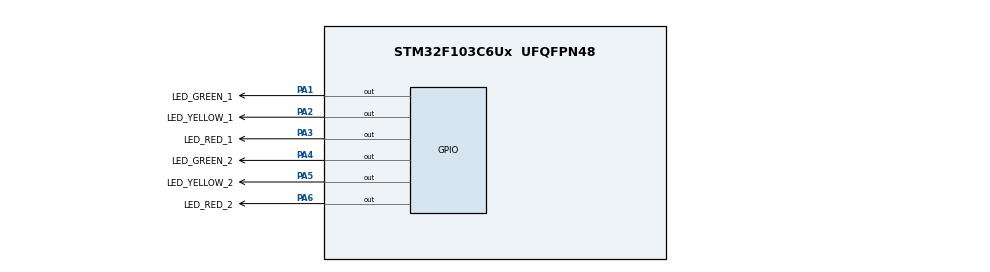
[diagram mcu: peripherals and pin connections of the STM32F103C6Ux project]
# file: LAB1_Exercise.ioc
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Mcu.Family=STM32F1
Mcu.Name=STM32F103C6Ux
Mcu.Package=UFQFPN48
NVIC.PriorityGroup=NVIC_PRIORITYGROUP_4
PA1.GPIO_Label=LED_GREEN_1
PA1.Signal=GPIO_Output
PA2.GPIO_Label=LED_YELLOW_1
PA2.Signal=GPIO_Output
PA3.GPIO_Label=LED_RED_1
PA3.Signal=GPIO_Output
PA4.GPIO_Label=LED_GREEN_2
PA4.Signal=GPIO_Output
PA5.GPIO_Label=LED_YELLOW_2
PA5.Signal=GPIO_Output
PA6.GPIO_Label=LED_RED_2
PA6.Signal=GPIO_Output
ProjectManager.HeapSize=0x200
ProjectManager.StackSize=0x400
ProjectManager.TargetToolchain=STM32CubeIDE
RCC.APB1Freq_Value=8000000
RCC.APB2Freq_Value=8000000
board=custom

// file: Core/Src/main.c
/* USER CODE BEGIN Header */
/**
  ******************************************************************************
  * @file           : main.c
  * @brief          : Main program body
  ******************************************************************************
  * @attention
  *
  * Copyright (c) 2025 STMicroelectronics.
  * All rights reserved.
  *
  * This software is licensed under terms that can be found in the LICENSE file
  * in the root directory of this software component.
  * If no LICENSE file comes with this software, it is provided AS-IS.
  *
  ******************************************************************************
  */
/* USER CODE END Header */
#include "main.h"

void SystemClock_Config(void);
static void MX_GPIO_Init(void);

int main(void)
{

  /* MCU Configuration--------------------------------------------------------*/

  /* Reset of all peripherals, Initializes the Flash interface and the Systick. */
  HAL_Init();

  /* Configure the system clock */
  SystemClock_Config();

  /* Initialize all configured peripherals */
  MX_GPIO_Init();

  /* Infinite loop */
  /* USER CODE BEGIN WHILE */
  uint16_t sec = 0;

  enum Color {
      RED,
      GREEN,
      YELLOW,
  };

  enum Color current_color_1 = GREEN;
  enum Color current_color_2 = RED;
  while (1)
  {
	    // TRAFFIC LIGHT 1
	    if(sec < 3) {
	        current_color_1 = GREEN;
	    }
	    else if(sec >= 3 && sec < 5) {
	        current_color_1 = YELLOW;
	    }
	    else {
	        current_color_1 = RED;
	    }

	    switch(current_color_1) {
	    case RED:
	        HAL_GPIO_WritePin(LED_RED_1_GPIO_Port, LED_RED_1_Pin, SET);
	        HAL_GPIO_WritePin(LED_GREEN_1_GPIO_Port, LED_GREEN_1_Pin, RESET);
	        HAL_GPIO_WritePin(LED_YELLOW_1_GPIO_Port, LED_YELLOW_1_Pin, RESET);
	        break;
	    case GREEN:
	        HAL_GPIO_WritePin(LED_GREEN_1_GPIO_Port, LED_GREEN_1_Pin, SET);
	        HAL_GPIO_WritePin(LED_RED_1_GPIO_Port, LED_RED_1_Pin, RESET);
	        HAL_GPIO_WritePin(LED_YELLOW_1_GPIO_Port, LED_YELLOW_1_Pin, RESET);
	        break;
	    case YELLOW:
	        HAL_GPIO_WritePin(LED_YELLOW_1_GPIO_Port, LED_YELLOW_1_Pin, SET);
	        HAL_GPIO_WritePin(LED_GREEN_1_GPIO_Port, LED_GREEN_1_Pin, RESET);
	        HAL_GPIO_WritePin(LED_RED_1_GPIO_Port, LED_RED_1_Pin, RESET);
	        break;
	    }

	    // TRAFFIC LIGHT 2
	    if(sec < 5) {
	        current_color_2 = RED;
	    }
	    else if(sec >= 5 && sec < 7) {
	        current_color_2 = GREEN;
	    }
	    else {
	        current_color_2 = YELLOW;
	    }

	    switch(current_color_2) {
	    case RED:
	        HAL_GPIO_WritePin(LED_RED_2_GPIO_Port, LED_RED_2_Pin, SET);
	        HAL_GPIO_WritePin(LED_GREEN_2_GPIO_Port, LED_GREEN_2_Pin, RESET);
	        HAL_GPIO_WritePin(LED_YELLOW_2_GPIO_Port, LED_YELLOW_2_Pin, RESET);
	        break;
	    case GREEN:
	        HAL_GPIO_WritePin(LED_GREEN_2_GPIO_Port, LED_GREEN_2_Pin, SET);
	        HAL_GPIO_WritePin(LED_RED_2_GPIO_Port, LED_RED_2_Pin, RESET);
	        HAL_GPIO_WritePin(LED_YELLOW_2_GPIO_Port, LED_YELLOW_2_Pin, RESET);
	        break;
	    case YELLOW:
	        HAL_GPIO_WritePin(LED_YELLOW_2_GPIO_Port, LED_YELLOW_2_Pin, SET);
	        HAL_GPIO_WritePin(LED_GREEN_2_GPIO_Port, LED_GREEN_2_Pin, RESET);
	        HAL_GPIO_WritePin(LED_RED_2_GPIO_Port, LED_RED_2_Pin, RESET);
	        break;
	    }

	    if(sec > 8) sec = 0;
	    ++sec;

	    HAL_Delay(1000);
    /* USER CODE END WHILE */

  }
}

void SystemClock_Config(void)
{
  RCC_OscInitTypeDef RCC_OscInitStruct = {0};
  RCC_ClkInitTypeDef RCC_ClkInitStruct = {0};

  /** Initializes the RCC Oscillators according to the specified parameters
  * in the RCC_OscInitTypeDef structure.
  */
  RCC_OscInitStruct.OscillatorType = RCC_OSCILLATORTYPE_HSI;
  RCC_OscInitStruct.HSIState = RCC_HSI_ON;
  RCC_OscInitStruct.HSICalibrationValue = RCC_HSICALIBRATION_DEFAULT;
  RCC_OscInitStruct.PLL.PLLState = RCC_PLL_NONE;
  if (HAL_RCC_OscConfig(&RCC_OscInitStruct) != HAL_OK)
  {
    Error_Handler();
  }

  /** Initializes the CPU, AHB and APB buses clocks
  */
  RCC_ClkInitStruct.ClockType = RCC_CLOCKTYPE_HCLK|RCC_CLOCKTYPE_SYSCLK
                              |RCC_CLOCKTYPE_PCLK1|RCC_CLOCKTYPE_PCLK2;
  RCC_ClkInitStruct.SYSCLKSource = RCC_SYSCLKSOURCE_HSI;
  RCC_ClkInitStruct.AHBCLKDivider = RCC_SYSCLK_DIV1;
  RCC_ClkInitStruct.APB1CLKDivider = RCC_HCLK_DIV1;
  RCC_ClkInitStruct.APB2CLKDivider = RCC_HCLK_DIV1;

  if (HAL_RCC_ClockConfig(&RCC_ClkInitStruct, FLASH_LATENCY_0) != HAL_OK)
  {
    Error_Handler();
  }
}

static void MX_GPIO_Init(void)
{
  GPIO_InitTypeDef GPIO_InitStruct = {0};

  /* GPIO Ports Clock Enable */
  __HAL_RCC_GPIOA_CLK_ENABLE();

  /*Configure GPIO pin Output Level */
  HAL_GPIO_WritePin(GPIOA, LED_GREEN_1_Pin|LED_YELLOW_1_Pin|LED_RED_1_Pin|LED_GREEN_2_Pin
                          |LED_YELLOW_2_Pin|LED_RED_2_Pin, GPIO_PIN_RESET);

  /*Configure GPIO pins : LED_GREEN_1_Pin LED_YELLOW_1_Pin LED_RED_1_Pin LED_GREEN_2_Pin
                           LED_YELLOW_2_Pin LED_RED_2_Pin */
  GPIO_InitStruct.Pin = LED_GREEN_1_Pin|LED_YELLOW_1_Pin|LED_RED_1_Pin|LED_GREEN_2_Pin
                          |LED_YELLOW_2_Pin|LED_RED_2_Pin;
  GPIO_InitStruct.Mode = GPIO_MODE_OUTPUT_PP;
  GPIO_InitStruct.Pull = GPIO_NOPULL;
  GPIO_InitStruct.Speed = GPIO_SPEED_FREQ_LOW;
  HAL_GPIO_Init(GPIOA, &GPIO_InitStruct);

}

void Error_Handler(void)
{
  __disable_irq();
  while (1)
  {
  }
}
